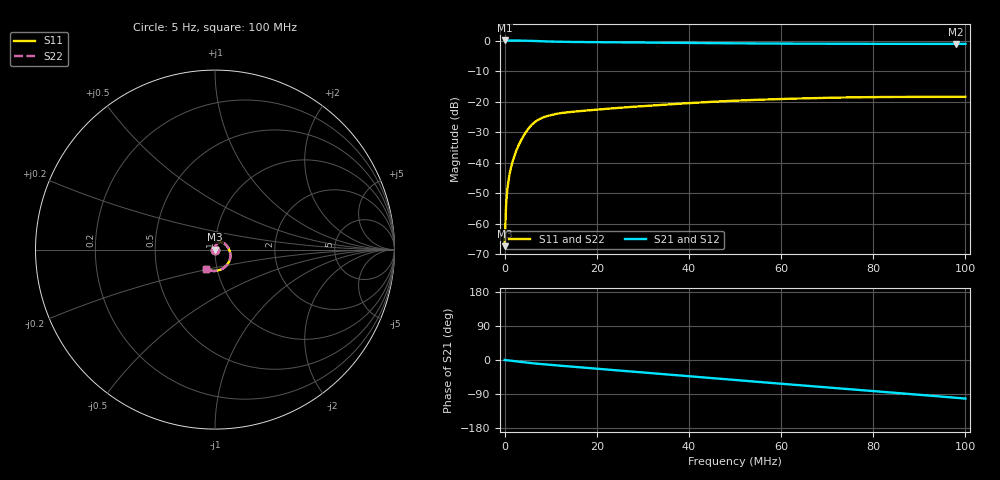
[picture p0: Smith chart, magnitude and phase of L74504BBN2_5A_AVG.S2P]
!Agilent Technologies,E5061B,MY49102235,A.02.00
!Date: Mon Jul 10 17:12:39 2023
!Data & Calibration Information:
!Freq	S11:SOLT2(ON)	S21:SOLT2(ON)	S12:SOLT2(ON)	S22:SOLT2(ON)
# Hz S RI R 50
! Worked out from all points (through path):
!   1600 points, 5 Hz to 100 MHz, reference 50 ohm
!   highest |S21| = 0.02 dB at 5 Hz (marker M1); lowest = -1.1 dB at 97.87 MHz (marker M2)
!   group delay of S21, straight-line fit = 2.75 ns
!   lowest |S11| = -67.3 dB at 62.54 kHz (marker M3), VSWR 1.00, Z = 50 + j0.0426 ohm
!   |S11| at or under -10 dB: start of sweep to end of sweep
!   |S22| runs from -77.3 to -18.3 dB; largest |S21 - S12| = 0.0027
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5  -0.000418 0.000443  1.002 0.00232  1.001 -4.22e-05  -0.000128 -4.61e-05
62544.08  -5.61e-05 0.000426  1 -0.00136  1 -0.0011  1.25e-05 0.000339
375239.5  0.000178 0.00234  0.9998 -0.00889  1 -0.00901  0.000107 0.0023
562856.8  0.000277 0.00349  0.9996 -0.0136  0.9994 -0.0132  0.000235 0.00344
625395.8  0.000285 0.00383  0.9997 -0.0151  0.999 -0.0148  0.00031 0.00388
813013.1  0.000212 0.00491  1 -0.0196  0.9988 -0.0191  0.000191 0.00485
1063169  0.000352 0.0064  1 -0.0255  0.9998 -0.0256  0.000363 0.00634
1563482  0.000614 0.00939  0.9986 -0.0376  0.9988 -0.0373  0.000666 0.00935
2188873  0.00123 0.0133  0.9981 -0.0525  0.9981 -0.0526  0.00124 0.0133
3064420  0.00266 0.0192  0.9957 -0.0741  0.9953 -0.0738  0.00263 0.0192
4127585  0.00606 0.027  0.9915 -0.1014  0.9912 -0.101  0.00608 0.0269
5065671  0.0114 0.0334  0.9847 -0.1247  0.9845 -0.1243  0.0114 0.0334
6003757  0.0187 0.0382  0.9757 -0.1463  0.9757 -0.1459  0.0186 0.0382
8130086  0.0362 0.0403  0.9536 -0.1864  0.9534 -0.1862  0.0361 0.0404
1.131958e7  0.0537 0.0332  0.9263 -0.236  0.9261 -0.2358  0.0537 0.0333
1.669794e7  0.0676 0.0188  0.8882 -0.3154  0.8882 -0.3152  0.0678 0.0187
3.333334e7  0.0849 -0.0215  0.7406 -0.5449  0.7408 -0.5447  0.0853 -0.0223
5.003127e7  0.0779 -0.068  0.5427 -0.7179  0.5431 -0.7178  0.0777 -0.0688
6.672921e7  0.0423 -0.1056  0.316 -0.8283  0.316 -0.8283  0.0422 -0.1064
8.33646e7  -0.00481 -0.1189  0.0724 -0.8789  0.0728 -0.879  -0.00525 -0.1196
9.787367e7  -0.0441 -0.1112  -0.1469 -0.8677  -0.147 -0.8682  -0.0447 -0.1124
1e8  -0.0494 -0.1091  -0.1788 -0.8619  -0.1791 -0.8621  -0.0501 -0.1103
